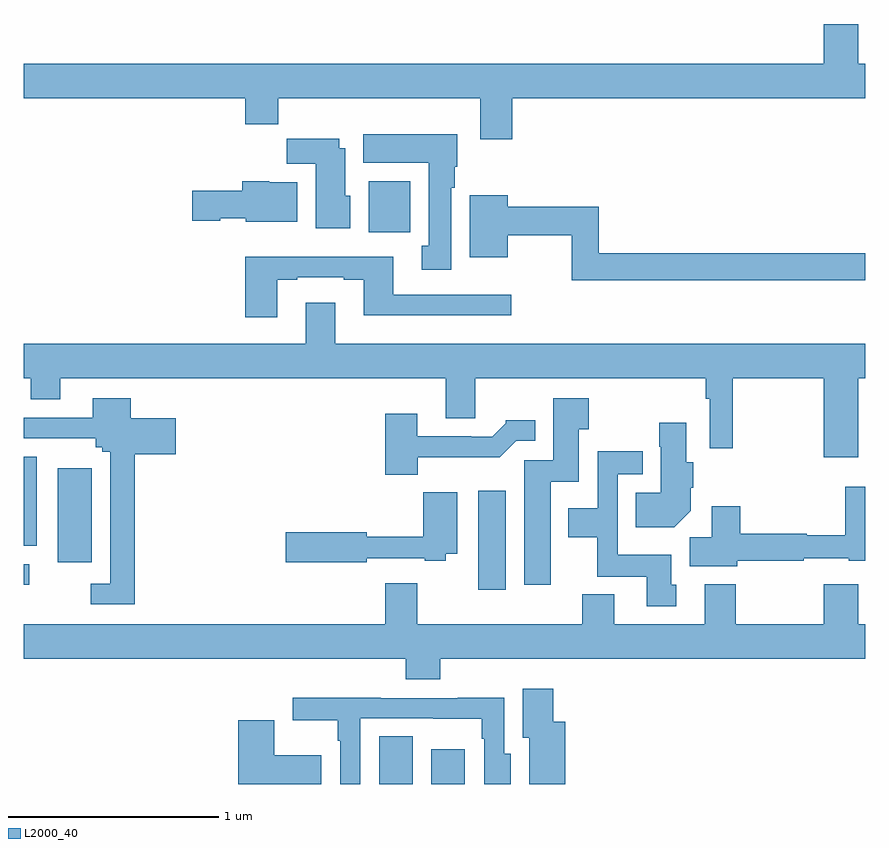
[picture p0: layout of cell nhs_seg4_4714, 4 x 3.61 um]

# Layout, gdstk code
import gdstk
lib = gdstk.Library(unit=1e-6, precision=1e-09)
def R(c, l, rs):  # rectangles x0, y0, x1, y1
    for r in rs: c.add(gdstk.rectangle(r[:2], r[2:], *l))
def P(c, l, *ps):  # polygons
    for p in ps: c.add(gdstk.Polygon(p, *l))
L2000_40 = (2000, 40)

nhs_seg4_4714 = lib.new_cell('nhs_seg4_4714')
R(nhs_seg4_4714, L2000_40, [(366.689,786.9,366.85,787.127), (366.938,786.9,367.096,787.066), (367.16,787.824,367.291,788.293), (365,787.848,365.026,787.944), (365.162,787.953,365.323,788.401), (365,788.033,365.062,788.455), (366.641,789.524,366.838,789.766)])
P(nhs_seg4_4714, L2000_40, [(367.322,790.16),(369,790.16),(369,790.324),(368.968,790.324),(368.968,790.513),(368.804,790.513),(368.804,790.324),(365,790.324),(365,790.16),(366.053,790.16),(366.053,790.036),(366.209,790.036),(366.209,790.16),(367.169,790.16),(367.169,789.966),(367.322,789.966)],
  [(367.033,789.734),(367.048,789.734),(367.048,789.834),(367.06,789.834),(367.06,789.988),(366.614,789.988),(366.614,789.854),(366.926,789.854),(366.926,789.458),(366.893,789.458),(366.893,789.345),(367.033,789.345)],
  [(366.553,789.696),(366.529,789.696),(366.529,789.922),(366.499,789.922),(366.499,789.967),(366.25,789.967),(366.25,789.848),(366.389,789.848),(366.389,789.542),(366.553,789.542)],
  [(366.301,789.76),(366.168,789.76),(366.168,789.766),(366.038,789.766),(366.038,789.72),(365.802,789.72),(365.802,789.578),(365.934,789.578),(365.934,789.59),(366.054,789.59),(366.054,789.572),(366.301,789.572)],
  [(369,789.422),(367.733,789.422),(367.733,789.644),(367.3,789.644),(367.3,789.7),(367.121,789.7),(367.121,789.404),(367.3,789.404),(367.3,789.508),(367.605,789.508),(367.605,789.294),(369,789.294)],
  [(366.205,789.297),(366.301,789.297),(366.301,789.309),(366.521,789.309),(366.521,789.297),(366.617,789.297),(366.617,789.128),(367.318,789.128),(367.318,789.225),(366.757,789.225),(366.757,789.406),(366.053,789.406),(366.053,789.12),(366.205,789.12)],
  [(368.968,788.828),(369,788.828),(369,788.992),(366.481,788.992),(366.481,789.187),(366.341,789.187),(366.341,788.992),(365,788.992),(365,788.828),(365.033,788.828),(365.033,788.729),(365.173,788.729),(365.173,788.828),(367.007,788.828),(367.007,788.638),(367.147,788.638),(367.147,788.828),(368.242,788.828),(368.242,788.732),(368.262,788.732),(368.262,788.496),(368.371,788.496),(368.371,788.828),(368.804,788.828),(368.804,788.454),(368.968,788.454)],
  [(367.504,788.336),(367.639,788.336),(367.639,788.587),(367.686,788.587),(367.686,788.734),(367.517,788.734),(367.517,788.439),(367.379,788.439),(367.379,787.848),(367.504,787.848)],
  [(365.528,788.468),(365.722,788.468),(365.722,788.638),(365.509,788.638),(365.509,788.734),(365.327,788.734),(365.327,788.64),(365,788.64),(365,788.544),(365.342,788.544),(365.342,788.502),(365.373,788.502),(365.373,788.48),(365.412,788.48),(365.412,787.851),(365.319,787.851),(365.319,787.755),(365.528,787.755)],
  [(366.874,788.454),(367.263,788.454),(367.341,788.532),(367.432,788.532),(367.432,788.629),(367.29,788.629),(367.29,788.614),(367.226,788.55),(367.127,788.55),(367.127,788.553),(366.871,788.553),(366.871,788.659),(366.719,788.659),(366.719,788.369),(366.874,788.369)],
  [(368.17,788.198),(368.17,788.308),(368.183,788.308),(368.183,788.43),(368.149,788.43),(368.149,788.617),(368.02,788.617),(368.02,788.504),(368.027,788.504),(368.027,788.284),(367.909,788.284),(367.909,788.12),(368.092,788.12)],
  [(368.101,787.848),(368.077,787.848),(368.077,787.99),(367.824,787.99),(367.824,788.373),(367.942,788.373),(367.942,788.482),(367.728,788.482),(367.728,788.212),(367.589,788.212),(367.589,788.072),(367.726,788.072),(367.726,787.886),(367.961,787.886),(367.961,787.746),(368.101,787.746)],
  [(368.392,787.962),(368.708,787.962),(368.708,787.974),(368.922,787.974),(368.922,787.961),(369,787.961),(369,788.314),(368.906,788.314),(368.906,788.083),(368.722,788.083),(368.722,788.09),(368.405,788.09),(368.405,788.221),(368.27,788.221),(368.27,788.072),(368.165,788.072),(368.165,787.934),(368.392,787.934)],
  [(366.63,787.974),(366.905,787.974),(366.905,787.962),(367.005,787.962),(367.005,787.994),(367.06,787.994),(367.06,788.287),(366.898,788.287),(366.898,788.075),(366.63,788.075),(366.63,788.096),(366.246,788.096),(366.246,787.954),(366.63,787.954)],
  [(366.98,787.496),(369,787.496),(369,787.66),(368.968,787.66),(368.968,787.849),(368.804,787.849),(368.804,787.66),(368.385,787.66),(368.385,787.849),(368.237,787.849),(368.237,787.66),(367.807,787.66),(367.807,787.801),(367.655,787.801),(367.655,787.66),(366.871,787.66),(366.871,787.855),(366.719,787.855),(366.719,787.66),(365,787.66),(365,787.496),(366.815,787.496),(366.815,787.397),(366.98,787.397)],
  [(367.574,787.195),(367.517,787.195),(367.517,787.354),(367.373,787.354),(367.373,787.121),(367.403,787.121),(367.403,786.9),(367.574,786.9)],
  [(366.6,787.212),(366.946,787.212),(366.946,787.211),(367.176,787.211),(367.176,787.115),(367.188,787.115),(367.188,786.9),(367.315,786.9),(367.315,787.044),(367.284,787.044),(367.284,787.31),(367.063,787.31),(367.063,787.308),(366.697,787.308),(366.697,787.31),(366.279,787.31),(366.279,787.202),(366.492,787.202),(366.492,787.106),(366.504,787.106),(366.504,786.9),(366.6,786.9)],
  [(366.415,787.036),(366.19,787.036),(366.19,787.204),(366.02,787.204),(366.02,786.9),(366.415,786.9)])

lib.write_gds('nhs_seg4_4714.gds')
